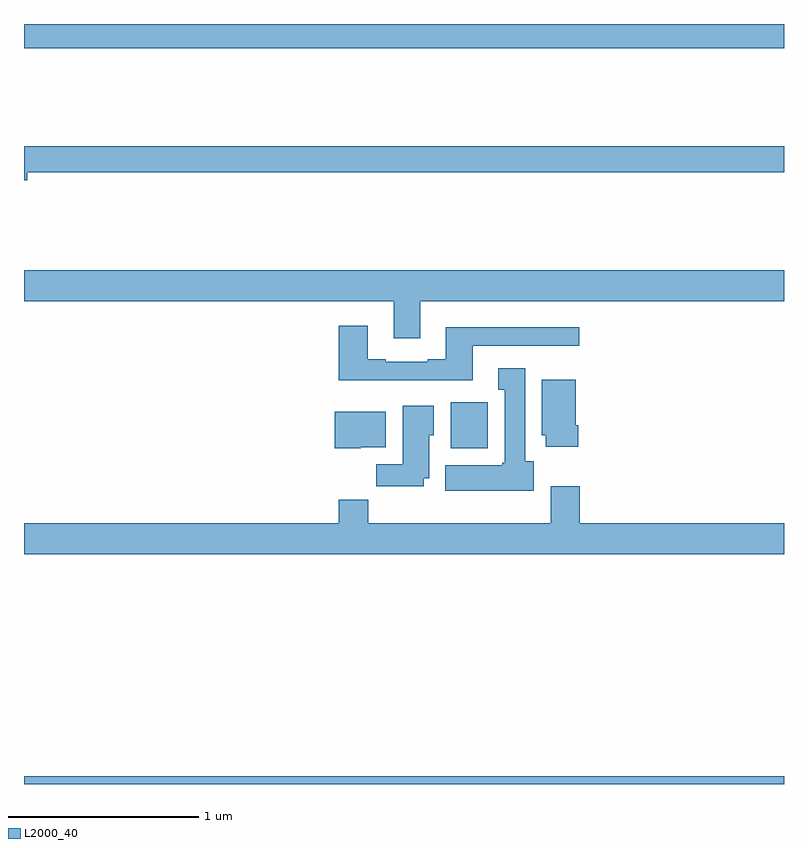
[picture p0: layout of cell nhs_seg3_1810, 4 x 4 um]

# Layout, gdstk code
import gdstk
lib = gdstk.Library(unit=1e-6, precision=1e-09)
def R(c, l, rs):  # rectangles x0, y0, x1, y1
    for r in rs: c.add(gdstk.rectangle(r[:2], r[2:], *l))
def P(c, l, *ps):  # polygons
    for p in ps: c.add(gdstk.Polygon(p, *l))
L2000_40 = (2000, 40)

nhs_seg3_1810 = lib.new_cell('nhs_seg3_1810')
R(nhs_seg3_1810, L2000_40, [(205,674.4,209,674.44), (207.245,676.166,207.442,676.408), (205,678.272,209,678.4)])
P(nhs_seg3_1810, L2000_40, [(205.018,677.62),(209,677.62),(209,677.756),(205,677.756),(205,677.578),(205.018,677.578)],
  [(207.085,676.94),(209,676.94),(209,677.104),(205,677.104),(205,676.94),(206.945,676.94),(206.945,676.746),(207.085,676.746)],
  [(207.361,676.707),(207.922,676.707),(207.922,676.804),(207.221,676.804),(207.221,676.636),(207.125,676.636),(207.125,676.623),(206.905,676.623),(206.905,676.636),(206.809,676.636),(206.809,676.813),(206.657,676.813),(206.657,676.526),(207.361,676.526)],
  [(207.682,676.098),(207.637,676.098),(207.637,676.588),(207.497,676.588),(207.497,676.475),(207.53,676.475),(207.53,676.092),(207.517,676.092),(207.517,676.078),(207.218,676.078),(207.218,675.944),(207.682,675.944)],
  [(207.917,676.288),(207.904,676.288),(207.904,676.528),(207.725,676.528),(207.725,676.236),(207.746,676.236),(207.746,676.176),(207.917,676.176)],
  [(207.103,676.01),(207.133,676.01),(207.133,676.236),(207.157,676.236),(207.157,676.39),(206.993,676.39),(206.993,676.084),(206.854,676.084),(206.854,675.966),(207.103,675.966)],
  [(206.772,676.172),(206.905,676.172),(206.905,676.36),(206.636,676.36),(206.636,676.166),(206.772,676.166)],
  [(209,675.772),(207.926,675.772),(207.926,675.967),(207.773,675.967),(207.773,675.772),(206.813,675.772),(206.813,675.896),(206.657,675.896),(206.657,675.772),(205,675.772),(205,675.608),(209,675.608)])

lib.write_gds('nhs_seg3_1810.gds')
